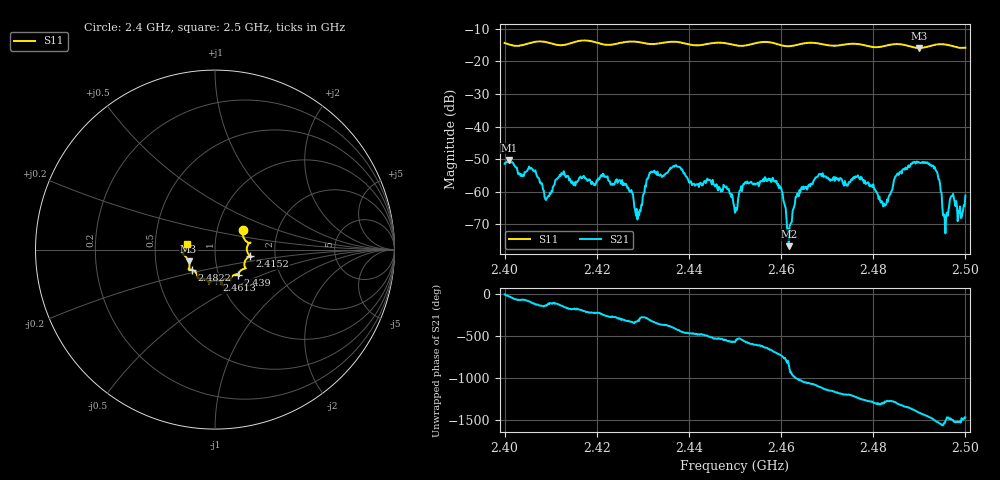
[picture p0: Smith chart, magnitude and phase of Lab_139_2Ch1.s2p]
# Hz S RI R 50
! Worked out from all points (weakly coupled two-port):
!   601 points, 2.4 GHz to 2.5 GHz, reference 50 ohm
!   highest |S21| = -50.22 dB at 2.401 GHz (marker M1); lowest = -76.7 dB at 2.4617 GHz (marker M2)
!   lowest |S11| = -15.9 dB at 2.49 GHz (marker M3), VSWR 1.38, Z = 36.9 - j4.86 ohm
!   |S11| at or under -10 dB: start of sweep to end of sweep
!   S12 and S22 are empty: the file has one direction only
!   S11 on the Smith chart (normalised r, x): 2.4 GHz: 1.33, +0.31; 2.4152 GHz: 1.48, -0.11; 2.439 GHz: 1.24, -0.36; 2.4613 GHz: 0.96, -0.34; 2.4822 GHz: 0.76, -0.17; 2.5 GHz: 0.72, +0.05
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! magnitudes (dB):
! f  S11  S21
! 2.4 GHz  -14.3  -51.4
! 2.401 GHz  -14.8  -50.2
! 2.4092 GHz  -14.1  -61.9
! 2.4152 GHz  -14.1  -57.1
! 2.4167 GHz  -13.6  -55.8
! 2.426 GHz  -14.1  -57.9
! 2.429 GHz  -14.1  -66.3
! 2.4313 GHz  -14.6  -54.8
! 2.4333 GHz  -14.5  -54.9
! 2.439 GHz  -14.5  -54.2
! 2.45 GHz  -15.0  -66.4
! 2.4585 GHz  -14.4  -56.9
! 2.4613 GHz  -15.4  -71.7
! 2.4617 GHz  -15.4  -76.7
! 2.4667 GHz  -14.3  -57.5
! 2.477 GHz  -14.7  -55.9
! 2.4822 GHz  -15.4  -64.5
! 2.4833 GHz  -15.0  -61.7
! 2.49 GHz  -15.9  -51.0
! 2.4935 GHz  -14.9  -53.2
! 2.4957 GHz  -14.8  -72.7
! 2.5 GHz  -15.8  -61.1
